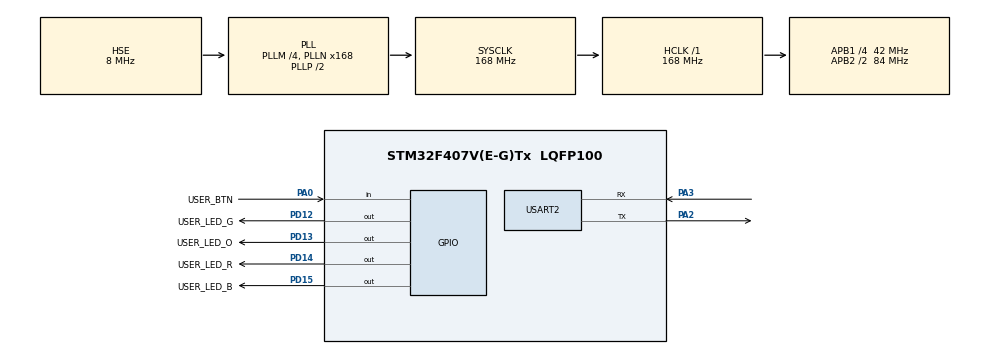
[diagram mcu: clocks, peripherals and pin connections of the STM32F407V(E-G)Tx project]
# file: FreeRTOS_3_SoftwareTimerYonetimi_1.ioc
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FREERTOS.Tasks01=Task1,0,128,Task1Function,Default,NULL,Dynamic,NULL,NULL
FREERTOS.Timers01=OneShot,OneShotCallback,osTimerOnce,Default,NULL,Dynamic,NULL;AutoReload,AutoReloadCallback,osTimerPeriodic,Default,NULL,Dynamic,NULL
FREERTOS.configTIMER_QUEUE_LENGTH=5
FREERTOS.configTIMER_TASK_PRIORITY=6
FREERTOS.configUSE_TIMERS=1
Mcu.Family=STM32F4
Mcu.Name=STM32F407V(E-G)Tx
Mcu.Package=LQFP100
NVIC.PriorityGroup=NVIC_PRIORITYGROUP_4
NVIC.TIM1_UP_TIM10_IRQn=true\:0\:0\:false\:false\:true\:false\:false\:true
NVIC.TimeBase=TIM1_UP_TIM10_IRQn
NVIC.TimeBaseIP=TIM1
PA0-WKUP.GPIO_Label=USER_BTN
PA0-WKUP.Signal=GPIO_Input
PA2.Mode=Asynchronous
PA2.Signal=USART2_TX
PA3.Mode=Asynchronous
PA3.Signal=USART2_RX
PD12.GPIO_Label=USER_LED_G
PD12.Signal=GPIO_Output
PD13.GPIO_Label=USER_LED_O
PD13.Signal=GPIO_Output
PD14.GPIO_Label=USER_LED_R
PD14.Signal=GPIO_Output
PD15.GPIO_Label=USER_LED_B
PD15.Signal=GPIO_Output
PH0-OSC_IN.Mode=HSE-External-Oscillator
PH0-OSC_IN.Signal=RCC_OSC_IN
PH1-OSC_OUT.Mode=HSE-External-Oscillator
PH1-OSC_OUT.Signal=RCC_OSC_OUT
ProjectManager.HeapSize=0x200
ProjectManager.StackSize=0x400
ProjectManager.TargetToolchain=STM32CubeIDE
RCC.48MHZClocksFreq_Value=84000000
RCC.AHBFreq_Value=168000000
RCC.APB1CLKDivider=RCC_HCLK_DIV4
RCC.APB1Freq_Value=42000000
RCC.APB1TimFreq_Value=84000000
RCC.APB2CLKDivider=RCC_HCLK_DIV2
RCC.APB2Freq_Value=84000000
RCC.APB2TimFreq_Value=168000000
RCC.CortexFreq_Value=168000000
RCC.HCLKFreq_Value=168000000
RCC.HSE_VALUE=8000000
RCC.HSI_VALUE=16000000
RCC.LSE_VALUE=32768
RCC.PLLM=4
RCC.PLLN=168
RCC.PLLSourceVirtual=RCC_PLLSOURCE_HSE
RCC.SYSCLKFreq_VALUE=168000000
RCC.SYSCLKSource=RCC_SYSCLKSOURCE_PLLCLK
RCC.VCOOutputFreq_Value=336000000
USART2.VirtualMode=VM_ASYNC
VP_FREERTOS_VS_CMSIS_V1.Mode=CMSIS_V1
VP_SYS_VS_tim1.Mode=TIM1
board=custom

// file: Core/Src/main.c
/* USER CODE BEGIN Header */
/**
  ******************************************************************************
  * @file           : main.c
  * @brief          : Main program body
  ******************************************************************************
  * @attention
  *
  * <h2><center>&copy; Copyright (c) 2020 STMicroelectronics.
  * All rights reserved.</center></h2>
  *
  * This software component is licensed by ST under BSD 3-Clause license,
  * the "License"; You may not use this file except in compliance with the
  * License. You may obtain a copy of the License at:
  *                        opensource.org/licenses/BSD-3-Clause
  *
  ******************************************************************************
  */
/* USER CODE END Header */
#include "main.h"
#include "cmsis_os.h"

/* USER CODE BEGIN Includes */
#include "string.h"
#include "stdio.h"
/* USER CODE END Includes */

/* USER CODE BEGIN PD */

#define mainAUTO_RELOAD_TIMER_PERIOD pdMS_TO_TICKS( 500 )

/* USER CODE END PD */

UART_HandleTypeDef huart2;

osThreadId Task1Handle;
osTimerId OneShotHandle;
osTimerId AutoReloadHandle;

TimerHandle_t AutoReloadTimer1;
TimerHandle_t AutoReloadTimer2;

void SystemClock_Config(void);
static void MX_GPIO_Init(void);
static void MX_USART2_UART_Init(void);
void Task1Function(void const * argument);
void OneShotCallback(void const * argument);
void AutoReloadCallback(void const * argument);

/* USER CODE BEGIN PFP */
static void prvAutoReloadTimerCallback( TimerHandle_t xTimer );
void UartPrint(char* message);
/* USER CODE END PFP */

int main(void)
{

  /* MCU Configuration--------------------------------------------------------*/

  /* Reset of all peripherals, Initializes the Flash interface and the Systick. */
  HAL_Init();

  /* Configure the system clock */
  SystemClock_Config();

  /* Initialize all configured peripherals */
  MX_GPIO_Init();
  MX_USART2_UART_Init();

  /* Create the timer(s) */
  /* definition and creation of OneShot */
  osTimerDef(OneShot, OneShotCallback);
  OneShotHandle = osTimerCreate(osTimer(OneShot), osTimerOnce, NULL);

  /* definition and creation of AutoReload */
  osTimerDef(AutoReload, AutoReloadCallback);
  AutoReloadHandle = osTimerCreate(osTimer(AutoReload), osTimerPeriodic, NULL);

//  osTimerStart(AutoReloadHandle, 500);

  /* USER CODE BEGIN RTOS_TIMERS */

  AutoReloadTimer1 = xTimerCreate("AutoReload1",   mainAUTO_RELOAD_TIMER_PERIOD, osTimerPeriodic, 0, prvAutoReloadTimerCallback);
  AutoReloadTimer2 = xTimerCreate("AutoReload2", 2*mainAUTO_RELOAD_TIMER_PERIOD, osTimerPeriodic, 0, prvAutoReloadTimerCallback);

  if(AutoReloadTimer1 != NULL && AutoReloadTimer2 != NULL)
  {
	  xTimerStart( AutoReloadTimer1, 0 );
	  xTimerStart( AutoReloadTimer2, 0 );
  }

  /* start timers, add new ones, ... */
  /* USER CODE END RTOS_TIMERS */

  /* Create the thread(s) */
  /* definition and creation of Task1 */
  osThreadDef(Task1, Task1Function, osPriorityNormal, 0, 128);
  Task1Handle = osThreadCreate(osThread(Task1), NULL);

  /* Start scheduler */
  osKernelStart();

  /* We should never get here as control is now taken by the scheduler */
  /* Infinite loop */
  while (1)
  {

  }
}

void SystemClock_Config(void)
{
  RCC_OscInitTypeDef RCC_OscInitStruct = {0};
  RCC_ClkInitTypeDef RCC_ClkInitStruct = {0};

  /** Configure the main internal regulator output voltage
  */
  __HAL_RCC_PWR_CLK_ENABLE();
  __HAL_PWR_VOLTAGESCALING_CONFIG(PWR_REGULATOR_VOLTAGE_SCALE1);
  /** Initializes the RCC Oscillators according to the specified parameters
  * in the RCC_OscInitTypeDef structure.
  */
  RCC_OscInitStruct.OscillatorType = RCC_OSCILLATORTYPE_HSE;
  RCC_OscInitStruct.HSEState = RCC_HSE_ON;
  RCC_OscInitStruct.PLL.PLLState = RCC_PLL_ON;
  RCC_OscInitStruct.PLL.PLLSource = RCC_PLLSOURCE_HSE;
  RCC_OscInitStruct.PLL.PLLM = 4;
  RCC_OscInitStruct.PLL.PLLN = 168;
  RCC_OscInitStruct.PLL.PLLP = RCC_PLLP_DIV2;
  RCC_OscInitStruct.PLL.PLLQ = 4;
  if (HAL_RCC_OscConfig(&RCC_OscInitStruct) != HAL_OK)
  {
    Error_Handler();
  }
  /** Initializes the CPU, AHB and APB buses clocks
  */
  RCC_ClkInitStruct.ClockType = RCC_CLOCKTYPE_HCLK|RCC_CLOCKTYPE_SYSCLK
                              |RCC_CLOCKTYPE_PCLK1|RCC_CLOCKTYPE_PCLK2;
  RCC_ClkInitStruct.SYSCLKSource = RCC_SYSCLKSOURCE_PLLCLK;
  RCC_ClkInitStruct.AHBCLKDivider = RCC_SYSCLK_DIV1;
  RCC_ClkInitStruct.APB1CLKDivider = RCC_HCLK_DIV4;
  RCC_ClkInitStruct.APB2CLKDivider = RCC_HCLK_DIV2;

  if (HAL_RCC_ClockConfig(&RCC_ClkInitStruct, FLASH_LATENCY_5) != HAL_OK)
  {
    Error_Handler();
  }
}

static void MX_USART2_UART_Init(void)
{

  huart2.Instance = USART2;
  huart2.Init.BaudRate = 115200;
  huart2.Init.WordLength = UART_WORDLENGTH_8B;
  huart2.Init.StopBits = UART_STOPBITS_1;
  huart2.Init.Parity = UART_PARITY_NONE;
  huart2.Init.Mode = UART_MODE_TX_RX;
  huart2.Init.HwFlowCtl = UART_HWCONTROL_NONE;
  huart2.Init.OverSampling = UART_OVERSAMPLING_16;
  if (HAL_UART_Init(&huart2) != HAL_OK)
  {
    Error_Handler();
  }

}

static void MX_GPIO_Init(void)
{
  GPIO_InitTypeDef GPIO_InitStruct = {0};

  /* GPIO Ports Clock Enable */
  __HAL_RCC_GPIOH_CLK_ENABLE();
  __HAL_RCC_GPIOA_CLK_ENABLE();
  __HAL_RCC_GPIOD_CLK_ENABLE();

  /*Configure GPIO pin Output Level */
  HAL_GPIO_WritePin(GPIOD, USER_LED_G_Pin|USER_LED_O_Pin|USER_LED_R_Pin|USER_LED_B_Pin, GPIO_PIN_RESET);

  /*Configure GPIO pin : USER_BTN_Pin */
  GPIO_InitStruct.Pin = USER_BTN_Pin;
  GPIO_InitStruct.Mode = GPIO_MODE_INPUT;
  GPIO_InitStruct.Pull = GPIO_NOPULL;
  HAL_GPIO_Init(USER_BTN_GPIO_Port, &GPIO_InitStruct);

  /*Configure GPIO pins : USER_LED_G_Pin USER_LED_O_Pin USER_LED_R_Pin USER_LED_B_Pin */
  GPIO_InitStruct.Pin = USER_LED_G_Pin|USER_LED_O_Pin|USER_LED_R_Pin|USER_LED_B_Pin;
  GPIO_InitStruct.Mode = GPIO_MODE_OUTPUT_PP;
  GPIO_InitStruct.Pull = GPIO_NOPULL;
  GPIO_InitStruct.Speed = GPIO_SPEED_FREQ_LOW;
  HAL_GPIO_Init(GPIOD, &GPIO_InitStruct);

}

/* USER CODE BEGIN 4 */

static void prvAutoReloadTimerCallback( TimerHandle_t xTimer )
{
	TickType_t xTimeNow;

	uint32_t ulExecutionCountT1 = 0;
	uint32_t ulExecutionCountT2 = 0;

	xTimeNow = xTaskGetTickCount();

	char msg[60];

	if(xTimer == AutoReloadTimer1)
	{
		ulExecutionCountT1 = ( uint32_t ) pvTimerGetTimerID( xTimer );
		ulExecutionCountT1++;
		vTimerSetTimerID( xTimer, ( void * ) ulExecutionCountT1 );

		// TimerID degerini YazilimsalTimer'in kac kere trigger oldugunu tespit etmek icin kullanabiliriz.
		HAL_GPIO_TogglePin(USER_LED_G_GPIO_Port, USER_LED_G_Pin);
		snprintf(msg,sizeof(msg),"Auto-reload timer1 callback executing %lu\r\n", xTimeNow);

		if(!(ulExecutionCountT1 % 10)) // Her 10 trigger isleminde periyot degeri eski degerin 2 kati olmaktadir.
		{
			TickType_t newPeriod = pdMS_TO_TICKS(xTimerGetPeriod(xTimer))*2;
			xTimerChangePeriod(xTimer,newPeriod,100);
		}
	}
	else if(xTimer == AutoReloadTimer2)
	{
		ulExecutionCountT2 = ( uint32_t ) pvTimerGetTimerID( xTimer );
		ulExecutionCountT2++;
		vTimerSetTimerID( xTimer, ( void * ) ulExecutionCountT2 );

		HAL_GPIO_TogglePin(USER_LED_R_GPIO_Port, USER_LED_R_Pin);
		snprintf(msg,sizeof(msg),"Auto-reload timer2 callback executing %lu\r\n", xTimeNow);

		if(!(ulExecutionCountT2 % 5)) // Her 5 trigger isleminde periyot degeri eski degerin 2 kati olmaktadir.
		{
			TickType_t newPeriod = pdMS_TO_TICKS(xTimerGetPeriod(xTimer))*2;
			xTimerChangePeriod(xTimer,newPeriod,100);
		}
	}

	UartPrint(msg);

}

void UartPrint(char* message)
{
	HAL_UART_Transmit(&huart2, (uint8_t*)message, strlen(message), 50);
}

/* USER CODE END 4 */

void Task1Function(void const * argument)
{
  /* USER CODE BEGIN 5 */

	uint8_t btnFlag = 0;
  /* Infinite loop */
  for(;;)
  {

	  if(HAL_GPIO_ReadPin(USER_BTN_GPIO_Port, USER_BTN_Pin))
	  {

		  btnFlag = !btnFlag;

		  if(btnFlag)
		  {
			  xTimerStop(AutoReloadTimer1,100);
			  osTimerStop(AutoReloadTimer2);
		  }
		  else
		  {
			  xTimerStart(AutoReloadTimer1,100);
			  osTimerStart(AutoReloadTimer2, mainAUTO_RELOAD_TIMER_PERIOD*2);
		  }

	  }
  }
  /* USER CODE END 5 */
}

/* OneShotCallback function */
void OneShotCallback(void const * argument)
{
}

/* AutoReloadCallback function */
void AutoReloadCallback(void const * argument)
{
}

void HAL_TIM_PeriodElapsedCallback(TIM_HandleTypeDef *htim)
{
  if (htim->Instance == TIM1) {
    HAL_IncTick();
  }
}

void Error_Handler(void)
{
}

/************************ (C) COPYRIGHT STMicroelectronics *****END OF FILE****/
